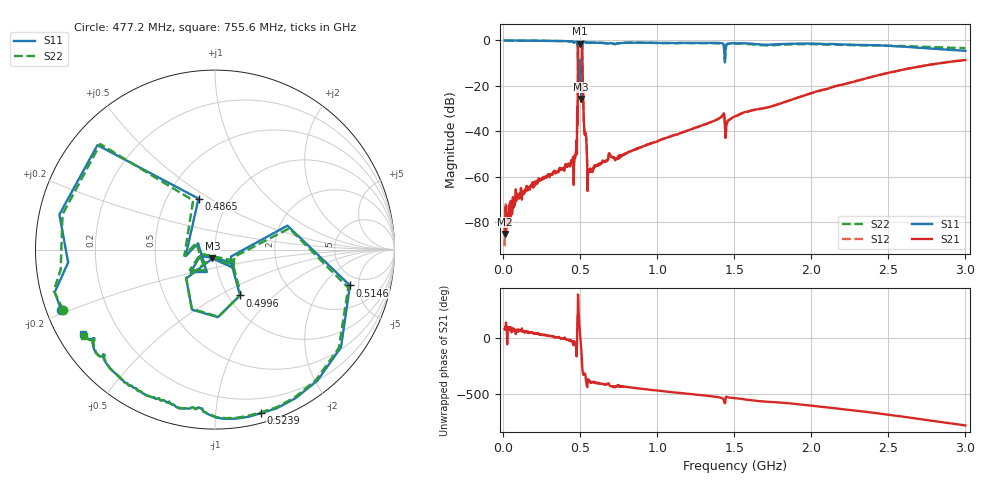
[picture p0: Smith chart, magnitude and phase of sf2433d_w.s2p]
# Hz  S  RI  R  50
! ADVANTEST Corporation R3860A
! Date: Mon Jul 03 19:38:44 2006
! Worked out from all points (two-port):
!   1601 points, 10 MHz to 3 GHz, reference 50 ohm
!   highest |S21| = -1.46 dB at 497.7 MHz (marker M1); lowest = -85.1 dB at 10 MHz (marker M2)
!   |S21| within 3 dB of the highest: 486.4 MHz to 512.7 MHz (26.29 MHz wide, 5.26 % of centre)
!   lowest |S11| = -25.7 dB at 507.1 MHz (marker M3), VSWR 1.11, Z = 48.4 - j4.81 ohm
!   |S11| at or under -10 dB: 486.4 MHz to 500.2 MHz (13.78 MHz wide, 2.79 % of centre); 503.9 MHz to 512.3 MHz (8.459 MHz wide, 1.66 % of centre)
!   |S22| runs from -26.8 to 0.0 dB; largest |S21 - S12| = 0.0023
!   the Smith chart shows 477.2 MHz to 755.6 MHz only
!   S11 on the Smith chart (normalised r, x): 477.2 MHz: 0.04, -0.19; 486.5 MHz: 0.72, +0.45; 499.6 MHz: 1.14, -0.63; 514.6 MHz: 3.89, -3.93; 523.9 MHz: 0.07, -1.32; 755.6 MHz: 0.07, -0.29
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1e7  1.001 -0.0457  1.51e-05 5.37e-05  -1.38e-05 2.67e-05  1.001 -0.0446
9.783125e7  0.9092 -0.4104  0.000119 0.000346  0.000175 0.000323  0.9066 -0.4107
2.622812e8  0.424 -0.8893  0.000895 0.000432  0.000911 0.000415  0.4197 -0.8887
4.472875e8  -0.4862 -0.8217  0.00167 -0.0014  0.00169 -0.00139  -0.4886 -0.8192
4.641062e8  -0.5935 -0.6994  0.00219 -0.002  0.00221 -0.00198  -0.6067 -0.6961
4.771875e8  -0.8575 -0.3346  -0.00611 -0.00151  -0.00611 -0.00161  -0.8449 -0.3358
4.865312e8  -0.0918 0.2841  0.6328 0.2312  0.6315 0.233  -0.1218 0.2735
4.977438e8  0.0892 -0.069  0.3863 0.7523  0.3848 0.7524  0.0937 -0.0588
4.996125e8  0.1394 -0.2553  0.7186 0.4006  0.7176 0.4019  0.1439 -0.2495
5.070875e8  -0.0143 -0.0496  -0.0791 -0.828  -0.0778 -0.8272  -0.0137 -0.0439
5.089562e8  0.0969 -0.0992  -0.532 -0.5975  -0.5309 -0.5974  0.1053 -0.0904
5.145625e8  0.7517 -0.1996  0.00569 0.3313  0.00499 0.3318  0.7423 -0.2127
5.239062e8  0.2579 -0.9112  0.0134 0.011  0.0134 0.011  0.2534 -0.9074
5.369875e8  -0.0702 -0.8888  0.00825 -0.0014  0.00831 -0.00141  -0.0735 -0.8844
5.612812e8  -0.2667 -0.8528  0.00116 -0.00056  0.00117 -0.000573  -0.2629 -0.8493
7.556312e8  -0.7345 -0.4723  0.00112 -0.00237  0.00113 -0.00237  -0.7298 -0.4798
1.007912e9  -0.876 0.12  -0.00187 -0.00588  -0.00187 -0.0059  -0.8712 0.1191
1.505e9  -0.2695 0.831  -0.0215 -0.00166  -0.0215 -0.00165  -0.2137 0.8285
2.003956e9  0.6102 0.5972  -0.0342 0.0614  -0.0342 0.0614  0.69 0.4632
2.502912e9  0.6162 -0.4487  0.1534 0.1211  0.1536 0.1215  0.4961 -0.5807
2.747719e9  0.0468 -0.6729  0.2828 -0.0356  0.2831 -0.0356  -0.057 -0.7223
3e9  -0.4799 -0.3489  0.2086 -0.3075  0.2086 -0.3075  -0.5284 -0.4277
